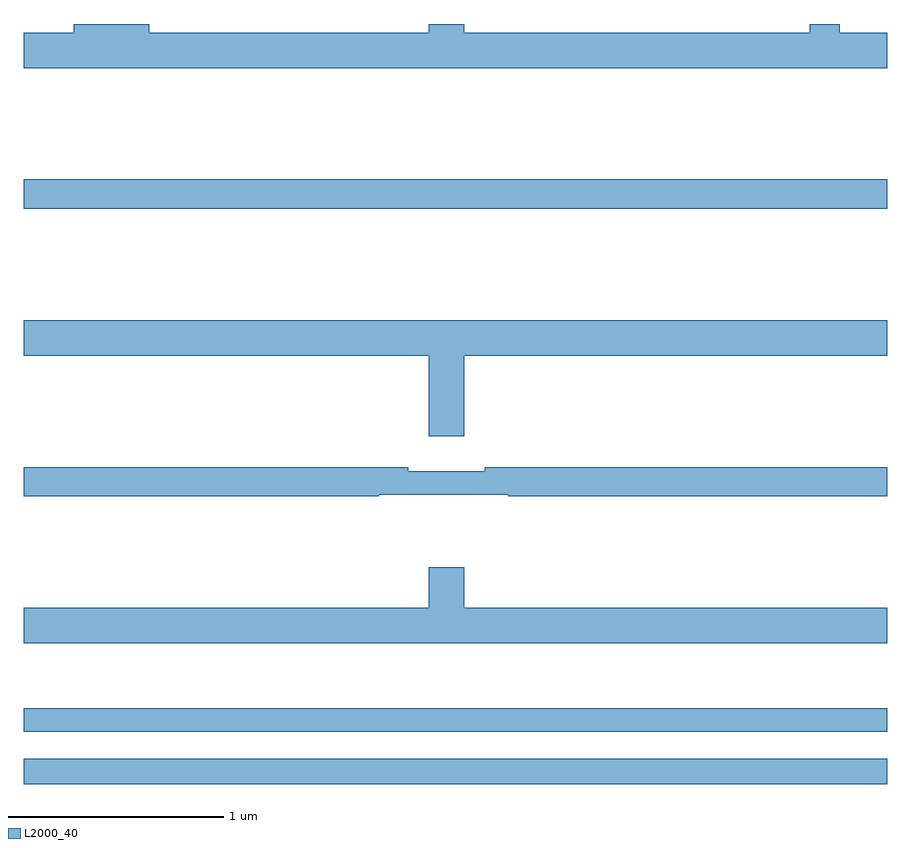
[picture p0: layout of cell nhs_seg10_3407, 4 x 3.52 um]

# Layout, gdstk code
import gdstk
lib = gdstk.Library(unit=1e-6, precision=1e-09)
def R(c, l, rs):  # rectangles x0, y0, x1, y1
    for r in rs: c.add(gdstk.rectangle(r[:2], r[2:], *l))
def P(c, l, *ps):  # polygons
    for p in ps: c.add(gdstk.Polygon(p, *l))
L2000_40 = (2000, 40)

nhs_seg10_3407 = lib.new_cell('nhs_seg10_3407')
R(nhs_seg10_3407, L2000_40, [(295,1316.98,299,1317.096), (295,1317.222,299,1317.331), (295,1319.644,299,1319.78)])
P(nhs_seg10_3407, L2000_40, [(299,1320.46),(298.78,1320.46),(298.78,1320.5),(298.64,1320.5),(298.64,1320.46),(297.04,1320.46),(297.04,1320.5),(296.876,1320.5),(296.876,1320.46),(295.582,1320.46),(295.582,1320.5),(295.232,1320.5),(295.232,1320.46),(295,1320.46),(295,1320.296),(299,1320.296)],
  [(297.04,1318.964),(299,1318.964),(299,1319.128),(295,1319.128),(295,1318.964),(296.876,1318.964),(296.876,1318.59),(297.04,1318.59)],
  [(296.645,1318.32),(297.245,1318.32),(297.245,1318.312),(299,1318.312),(299,1318.448),(297.136,1318.448),(297.136,1318.429),(296.78,1318.429),(296.78,1318.448),(295,1318.448),(295,1318.312),(296.645,1318.312)],
  [(299,1317.796),(297.04,1317.796),(297.04,1317.985),(296.876,1317.985),(296.876,1317.796),(295,1317.796),(295,1317.632),(299,1317.632)])

lib.write_gds('nhs_seg10_3407.gds')
